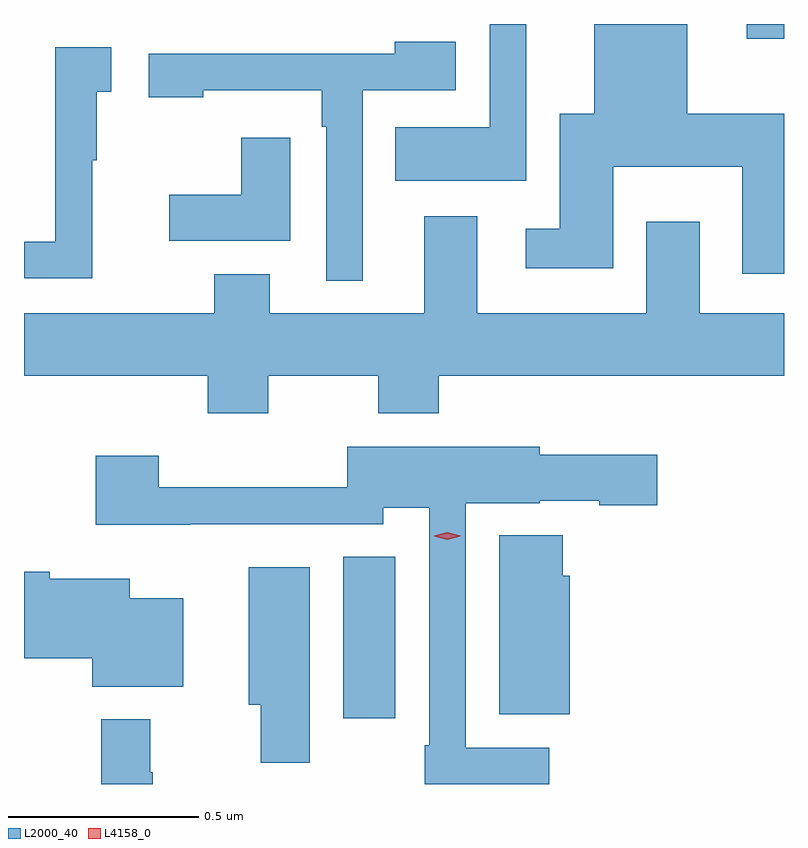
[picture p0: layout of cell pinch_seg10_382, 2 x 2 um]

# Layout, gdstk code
import gdstk
lib = gdstk.Library(unit=1e-6, precision=1e-09)
def R(c, l, rs):  # rectangles x0, y0, x1, y1
    for r in rs: c.add(gdstk.rectangle(r[:2], r[2:], *l))
def P(c, l, *ps):  # polygons
    for p in ps: c.add(gdstk.Polygon(p, *l))
L2000_40 = (2000, 40)
L4158_0 = (4158, 0)

pinch_seg10_382 = lib.new_cell('pinch_seg10_382')
R(pinch_seg10_382, L2000_40, [(480.812,1263.45,480.949,1263.875), (481.874,1265.238,481.972,1265.277)])
P(pinch_seg10_382, L2000_40, [(481.294,1265.277),(481.197,1265.277),(481.197,1265.005),(480.949,1265.005),(480.949,1264.865),(481.294,1264.865)],
  [(481.972,1265.041),(481.717,1265.041),(481.717,1265.277),(481.472,1265.277),(481.472,1265.041),(481.382,1265.041),(481.382,1264.738),(481.293,1264.738),(481.293,1264.634),(481.522,1264.634),(481.522,1264.901),(481.862,1264.901),(481.862,1264.62),(481.972,1264.62)],
  [(480.864,1265.103),(481.108,1265.103),(481.108,1265.23),(480.947,1265.23),(480.947,1265.199),(480.3,1265.199),(480.3,1265.084),(480.444,1265.084),(480.444,1265.103),(480.756,1265.103),(480.756,1265.006),(480.768,1265.006),(480.768,1264.602),(480.864,1264.602)],
  [(480.152,1264.918),(480.163,1264.918),(480.163,1265.099),(480.202,1265.099),(480.202,1265.216),(480.054,1265.216),(480.054,1264.704),(479.972,1264.704),(479.972,1264.608),(480.152,1264.608)],
  [(480.673,1264.978),(480.544,1264.978),(480.544,1264.828),(480.354,1264.828),(480.354,1264.706),(480.673,1264.706)],
  [(480.615,1264.352),(480.904,1264.352),(480.904,1264.253),(481.064,1264.253),(481.064,1264.352),(481.972,1264.352),(481.972,1264.516),(481.75,1264.516),(481.75,1264.756),(481.61,1264.756),(481.61,1264.516),(481.165,1264.516),(481.165,1264.771),(481.025,1264.771),(481.025,1264.516),(480.619,1264.516),(480.619,1264.618),(480.472,1264.618),(480.472,1264.516),(479.972,1264.516),(479.972,1264.352),(480.455,1264.352),(480.455,1264.253),(480.615,1264.253)],
  [(481.354,1263.372),(481.134,1263.372),(481.134,1264.016),(481.329,1264.016),(481.329,1264.022),(481.486,1264.022),(481.486,1264.01),(481.639,1264.01),(481.639,1264.144),(481.329,1264.144),(481.329,1264.165),(480.822,1264.165),(480.822,1264.058),(480.326,1264.058),(480.326,1264.141),(480.161,1264.141),(480.161,1263.959),(480.409,1263.959),(480.409,1263.96),(480.918,1263.96),(480.918,1264.004),(481.038,1264.004),(481.038,1263.379),(481.026,1263.379),(481.026,1263.277),(481.354,1263.277)],
  [(481.408,1263.825),(481.39,1263.825),(481.39,1263.931),(481.223,1263.931),(481.223,1263.461),(481.408,1263.461)],
  [(480.724,1263.847),(480.563,1263.847),(480.563,1263.485),(480.595,1263.485),(480.595,1263.333),(480.724,1263.333)],
  [(480.391,1263.766),(480.25,1263.766),(480.25,1263.817),(480.04,1263.817),(480.04,1263.836),(479.972,1263.836),(479.972,1263.608),(480.152,1263.608),(480.152,1263.533),(480.391,1263.533)],
  [(480.311,1263.308),(480.304,1263.308),(480.304,1263.448),(480.175,1263.448),(480.175,1263.277),(480.311,1263.277)])
P(pinch_seg10_382, L4158_0, [(481.086,1263.92),(481.051,1263.929),(481.051,1263.93),(481.051,1263.93),(481.086,1263.94),(481.12,1263.93),(481.121,1263.93),(481.12,1263.929)])

lib.write_gds('pinch_seg10_382.gds')
